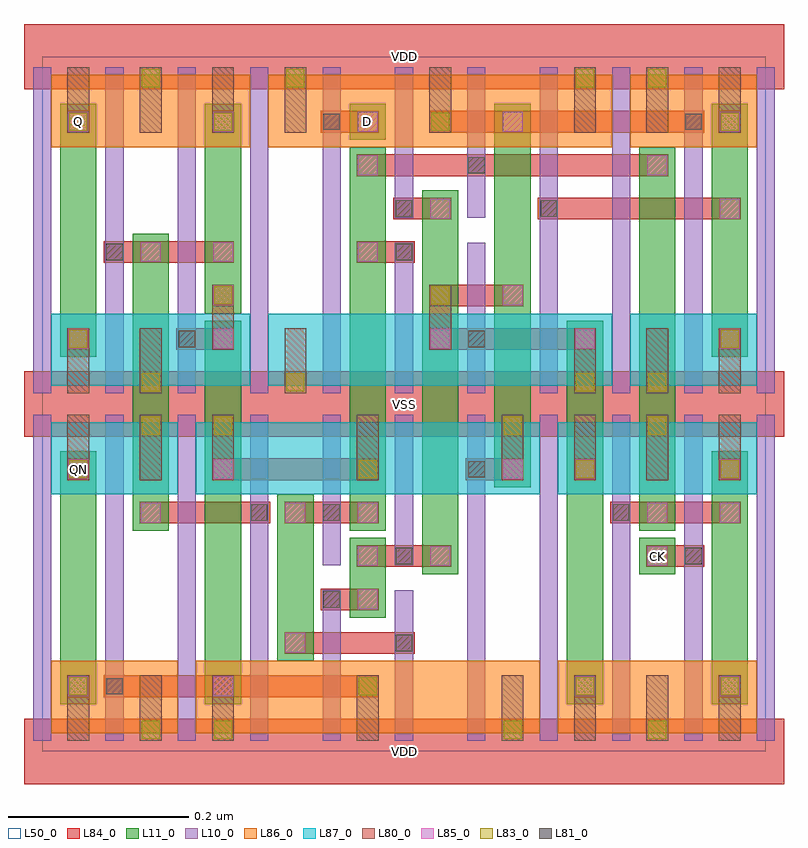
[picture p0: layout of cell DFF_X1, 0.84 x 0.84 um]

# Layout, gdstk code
import gdstk
lib = gdstk.Library(unit=1e-6, precision=1e-09)
def R(c, l, rs):  # rectangles x0, y0, x1, y1
    for r in rs: c.add(gdstk.rectangle(r[:2], r[2:], *l))
def A(c, l, x, y, w, h, nx, ny, dx, dy):  # array of equal rectangles
    R(c, l, [(x+i*dx, y+j*dy, x+i*dx+w, y+j*dy+h) for i in range(nx) for j in range(ny)])
L10_0 = (10, 0)
L11_0 = (11, 0)
L50_0 = (50, 0)
L80_0 = (80, 0)
L81_0 = (81, 0)
L83_0 = (83, 0)
L84_0 = (84, 0)
L85_0 = (85, 0)
L86_0 = (86, 0)
L87_0 = (87, 0)

dff_x1 = lib.new_cell('DFF_X1')
A(dff_x1, L10_0, -0.01, 0.012, 0.02, 0.36, 4, 1, 0.08, 0)
A(dff_x1, L10_0, 0.47, 0.012, 0.02, 0.36, 5, 1, 0.08, 0)
A(dff_x1, L10_0, -0.01, 0.396, 0.02, 0.36, 5, 1, 0.08, 0)
A(dff_x1, L10_0, 0.55, 0.396, 0.02, 0.36, 4, 1, 0.08, 0)
R(dff_x1, L10_0, [(0.31,0.012,0.33,0.178), (0.39,0.012,0.41,0.178), (0.31,0.206,0.33,0.372), (0.39,0.206,0.41,0.372), (0.39,0.396,0.41,0.562), (0.47,0.396,0.49,0.562), (0.39,0.59,0.41,0.756), (0.47,0.59,0.49,0.756)])
R(dff_x1, L11_0, [(0.02,0.052,0.06,0.332), (0.18,0.052,0.22,0.476), (0.58,0.052,0.62,0.476), (0.74,0.052,0.78,0.332), (0.26,0.1,0.3,0.284), (0.34,0.148,0.38,0.236), (0.42,0.196,0.46,0.62), (0.66,0.196,0.7,0.236), (0.1,0.244,0.14,0.572), (0.34,0.244,0.38,0.668), (0.66,0.244,0.7,0.668), (0.5,0.292,0.54,0.716), (0.02,0.436,0.06,0.716), (0.74,0.436,0.78,0.716), (0.18,0.484,0.22,0.716), (0.34,0.676,0.38,0.716)])
R(dff_x1, L50_0, [(0,0,0.8,0.768)])
A(dff_x1, L80_0, 0.028, 0.012, 0.024, 0.072, 3, 2, 0.08, 0.288)
A(dff_x1, L80_0, 0.508, 0.012, 0.024, 0.072, 4, 2, 0.08, 0.288)
A(dff_x1, L80_0, 0.588, 0.396, 0.024, 0.072, 3, 2, 0.08, 0.288)
A(dff_x1, L80_0, 0.028, 0.684, 0.024, 0.072, 4, 1, 0.08, 0)
R(dff_x1, L80_0, [(0.348,0.012,0.372,0.084), (0.348,0.3,0.372,0.372), (0.028,0.396,0.052,0.468), (0.108,0.396,0.132,0.468), (0.268,0.396,0.292,0.468), (0.188,0.444,0.212,0.516), (0.428,0.444,0.452,0.516), (0.428,0.684,0.452,0.756)])
R(dff_x1, L81_0, [(0.071,0.063,0.089,0.081), (0.391,0.111,0.409,0.129), (0.311,0.159,0.329,0.177), (0.391,0.207,0.409,0.225), (0.711,0.207,0.729,0.225), (0.231,0.255,0.249,0.273), (0.311,0.255,0.329,0.273), (0.631,0.255,0.649,0.273), (0.471,0.303,0.489,0.321), (0.151,0.447,0.169,0.465), (0.471,0.447,0.489,0.465), (0.071,0.543,0.089,0.561), (0.391,0.543,0.409,0.561), (0.391,0.591,0.409,0.609), (0.551,0.591,0.569,0.609), (0.471,0.639,0.489,0.657), (0.311,0.687,0.329,0.705), (0.711,0.687,0.729,0.705)])
R(dff_x1, L83_0, [(0.11,0.014,0.13,0.034), (0.19,0.014,0.21,0.034), (0.51,0.014,0.53,0.034), (0.67,0.014,0.69,0.034), (0.03,0.062,0.05,0.082), (0.35,0.062,0.37,0.082), (0.59,0.062,0.61,0.082), (0.75,0.062,0.77,0.082), (0.03,0.302,0.05,0.322), (0.35,0.302,0.37,0.322), (0.59,0.302,0.61,0.322), (0.75,0.302,0.77,0.322), (0.11,0.35,0.13,0.37), (0.19,0.35,0.21,0.37), (0.51,0.35,0.53,0.37), (0.67,0.35,0.69,0.37), (0.11,0.398,0.13,0.418), (0.27,0.398,0.29,0.418), (0.59,0.398,0.61,0.418), (0.67,0.398,0.69,0.418), (0.03,0.446,0.05,0.466), (0.75,0.446,0.77,0.466), (0.19,0.494,0.21,0.514), (0.43,0.494,0.45,0.514), (0.03,0.686,0.05,0.706), (0.19,0.686,0.21,0.706), (0.43,0.686,0.45,0.706), (0.75,0.686,0.77,0.706), (0.11,0.734,0.13,0.754), (0.27,0.734,0.29,0.754), (0.59,0.734,0.61,0.754), (0.67,0.734,0.69,0.754)])
A(dff_x1, L84_0, -0.02, -0.036, 0.84, 0.072, 1, 3, 0, 0.384)
R(dff_x1, L84_0, [(0.028,0.06,0.052,0.084), (0.068,0.06,0.372,0.084), (0.588,0.06,0.612,0.084), (0.748,0.06,0.772,0.084), (0.268,0.108,0.412,0.132), (0.308,0.156,0.372,0.18), (0.348,0.204,0.452,0.228), (0.668,0.204,0.732,0.228), (0.108,0.252,0.252,0.276), (0.268,0.252,0.372,0.276), (0.628,0.252,0.772,0.276), (0.028,0.3,0.052,0.324), (0.188,0.3,0.372,0.324), (0.468,0.3,0.532,0.324), (0.588,0.3,0.612,0.324), (0.748,0.3,0.772,0.324), (0.028,0.444,0.052,0.468), (0.148,0.444,0.212,0.468), (0.428,0.444,0.612,0.468), (0.748,0.444,0.772,0.468), (0.188,0.492,0.212,0.516), (0.428,0.492,0.532,0.516), (0.068,0.54,0.212,0.564), (0.348,0.54,0.412,0.564), (0.388,0.588,0.452,0.612), (0.548,0.588,0.772,0.612), (0.348,0.636,0.692,0.66), (0.028,0.684,0.052,0.708), (0.188,0.684,0.212,0.708), (0.308,0.684,0.372,0.708), (0.428,0.684,0.732,0.708), (0.748,0.684,0.772,0.708)])
A(dff_x1, L85_0, 0.349, 0.157, 0.022, 0.022, 1, 3, 0, 0.048)
A(dff_x1, L85_0, 0.189, 0.445, 0.022, 0.022, 1, 3, 0, 0.048)
A(dff_x1, L85_0, 0.429, 0.445, 0.022, 0.022, 3, 1, 0.16, 0)
A(dff_x1, L85_0, 0.029, 0.685, 0.022, 0.022, 4, 1, 0.16, 0)
R(dff_x1, L85_0, [(0.029,0.061,0.051,0.083), (0.189,0.061,0.211,0.083), (0.589,0.061,0.611,0.083), (0.749,0.061,0.771,0.083), (0.269,0.109,0.291,0.131), (0.429,0.205,0.451,0.227), (0.669,0.205,0.691,0.227), (0.109,0.253,0.131,0.275), (0.269,0.253,0.291,0.275), (0.669,0.253,0.691,0.275), (0.749,0.253,0.771,0.275), (0.029,0.301,0.051,0.323), (0.189,0.301,0.211,0.323), (0.509,0.301,0.531,0.323), (0.589,0.301,0.611,0.323), (0.749,0.301,0.771,0.323), (0.029,0.445,0.051,0.467), (0.509,0.493,0.531,0.515), (0.109,0.541,0.131,0.563), (0.349,0.541,0.371,0.563), (0.429,0.589,0.451,0.611), (0.749,0.589,0.771,0.611), (0.349,0.637,0.371,0.659), (0.669,0.637,0.691,0.659), (0.749,0.685,0.771,0.707)])
R(dff_x1, L86_0, [(0.01,0.02,0.15,0.1), (0.17,0.02,0.55,0.1), (0.57,0.02,0.79,0.1), (0.01,0.668,0.23,0.748), (0.25,0.668,0.63,0.748), (0.65,0.668,0.79,0.748)])
R(dff_x1, L87_0, [(0.01,0.284,0.15,0.364), (0.17,0.284,0.55,0.364), (0.57,0.284,0.79,0.364), (0.01,0.404,0.23,0.484), (0.25,0.404,0.63,0.484), (0.65,0.404,0.79,0.484)])
dff_x1.add(gdstk.Label('VDD', (0.4,0.768), layer=88, texttype=0))
dff_x1.add(gdstk.Label('VDD', (0.4,0), layer=88, texttype=0))
dff_x1.add(gdstk.Label('VSS', (0.4,0.384), layer=88, texttype=0))
dff_x1.add(gdstk.Label('Q', (0.04,0.696), layer=31, texttype=0))
dff_x1.add(gdstk.Label('QN', (0.04,0.312), layer=31, texttype=0))
dff_x1.add(gdstk.Label('CK', (0.68,0.216), layer=31, texttype=0))
dff_x1.add(gdstk.Label('D', (0.36,0.696), layer=31, texttype=0))

lib.write_gds('DFF_X1.gds')
